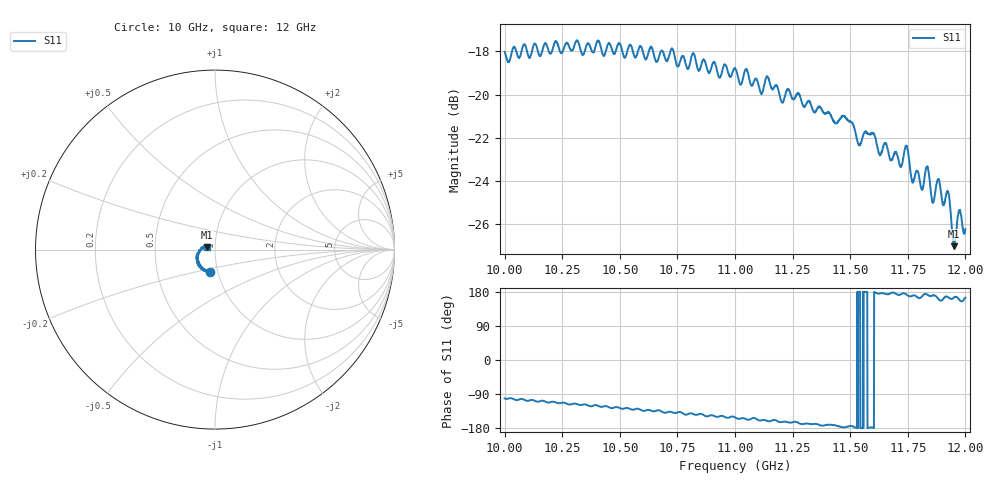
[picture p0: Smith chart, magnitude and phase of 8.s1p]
[Version] 2.0
! Rohde & Schwarz Vector Network Analyzer
! Rohde-Schwarz,ZNL20-2Port,1323001220200009,1.71.1.10-23.02.1.238
! Port Assignments:
! Nominal Port -> Actual Test Port
!  1 -> 1
! Created: GMT 2024-09-04 10:33:11
# Hz S DB R 50
[Number of Ports] 1
! freq[Hz]  S11[mag dB]  S11[ang]
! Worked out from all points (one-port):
!   2001 points, 10 GHz to 12 GHz, reference 50 ohm
!   lowest |S11| = -27.0 dB at 11.95 GHz (marker M1), VSWR 1.09, Z = 45.9 + j1.08 ohm
!   |S11| at or under -10 dB: start of sweep to end of sweep
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[Number of Frequencies] 28
[Network Data]
1e10  -18.03 -101.5
1.025e10  -18.05 -112.7
1.05e10  -17.65 -126.8
1.066e10  -18.49 -133.5
1.0727e10  -17.88 -138.0
1.075e10  -18.70 -138.5
1.0819e10  -18.10 -142.7
1.0843e10  -18.90 -143.0
1.1e10  -18.77 -151.2
1.1023e10  -19.52 -154.8
1.125e10  -20.19 -164.1
1.15e10  -21.25 -173.9
1.1539e10  -22.30 180.0
1.1597e10  -21.79 -178.2
1.1627e10  -22.77 175.3
1.1653e10  -22.23 174.5
1.1719e10  -23.35 173.1
1.175e10  -22.56 170.3
1.1771e10  -24.05 169.9
1.1812e10  -24.41 167.7
1.1834e10  -23.36 172.8
1.1858e10  -24.97 170.1
1.1881e10  -23.91 162.3
1.1904e10  -25.11 161.4
1.1923e10  -24.49 166.3
1.195e10  -27.00 164.8
1.1974e10  -25.32 158.6
1.2e10  -26.22 164.3
[End]
